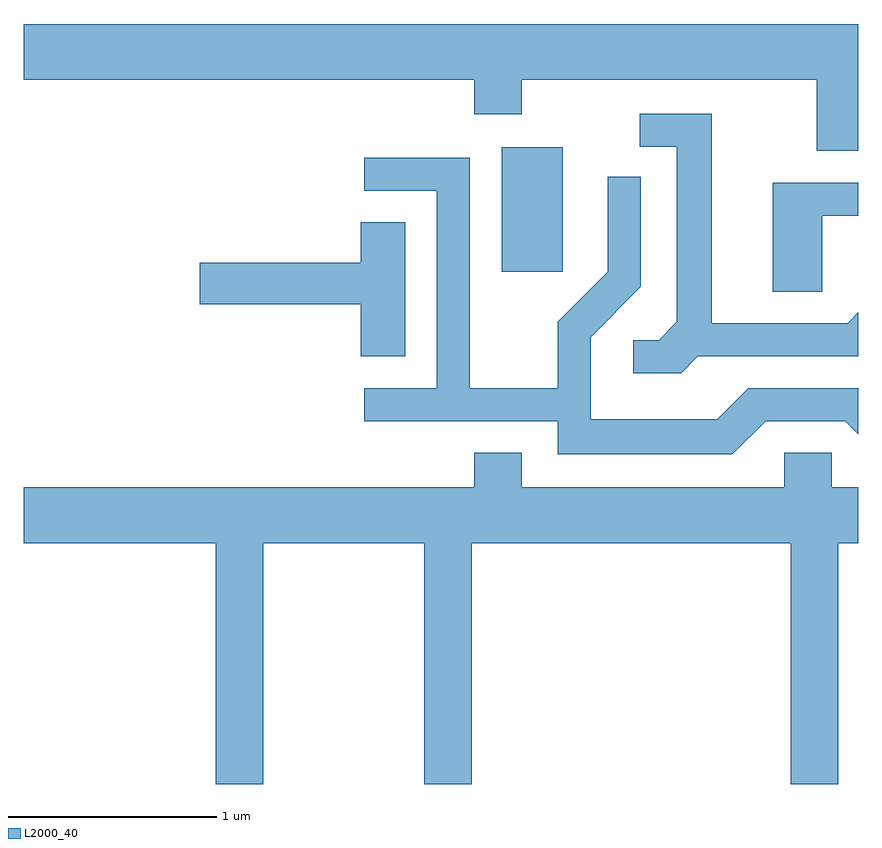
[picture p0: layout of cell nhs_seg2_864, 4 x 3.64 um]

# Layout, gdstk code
import gdstk
lib = gdstk.Library(unit=1e-6, precision=1e-09)
def R(c, l, rs):  # rectangles x0, y0, x1, y1
    for r in rs: c.add(gdstk.rectangle(r[:2], r[2:], *l))
def P(c, l, *ps):  # polygons
    for p in ps: c.add(gdstk.Polygon(p, *l))
L2000_40 = (2000, 40)

nhs_seg2_864 = lib.new_cell('nhs_seg2_864')
R(nhs_seg2_864, L2000_40, [(211.901,1076.256,212.194,1076.854)])
P(nhs_seg2_864, L2000_40, [(213.611,1077.444),(209.611,1077.444),(209.611,1077.176),(211.771,1077.176),(211.771,1077.011),(211.999,1077.011),(211.999,1077.176),(213.411,1077.176),(213.411,1076.836),(213.611,1076.836)],
  [(212.842,1075.851),(213.611,1075.851),(213.611,1076.062),(213.559,1076.009),(212.909,1076.009),(212.909,1077.014),(212.563,1077.014),(212.563,1076.856),(212.741,1076.856),(212.741,1076.017),(212.654,1075.929),(212.533,1075.929),(212.533,1075.771),(212.762,1075.771)],
  [(213.167,1075.541),(213.549,1075.541),(213.611,1075.479),(213.611,1075.699),(213.084,1075.699),(212.934,1075.549),(212.329,1075.549),(212.329,1075.944),(212.569,1076.184),(212.569,1076.713),(212.411,1076.713),(212.411,1076.257),(212.171,1076.017),(212.171,1075.699),(211.749,1075.699),(211.749,1076.804),(211.243,1076.804),(211.243,1076.646),(211.591,1076.646),(211.591,1075.699),(211.243,1075.699),(211.243,1075.541),(212.171,1075.541),(212.171,1075.381),(213.007,1075.381)],
  [(213.439,1076.526),(213.611,1076.526),(213.611,1076.684),(213.201,1076.684),(213.201,1076.161),(213.439,1076.161)],
  [(211.439,1076.494),(211.226,1076.494),(211.226,1076.299),(210.456,1076.299),(210.456,1076.101),(211.226,1076.101),(211.226,1075.851),(211.439,1075.851)],
  [(210.759,1074.956),(211.531,1074.956),(211.531,1073.802),(211.759,1073.802),(211.759,1074.956),(213.286,1074.956),(213.286,1073.802),(213.514,1073.802),(213.514,1074.956),(213.611,1074.956),(213.611,1075.224),(213.484,1075.224),(213.484,1075.389),(213.256,1075.389),(213.256,1075.224),(211.999,1075.224),(211.999,1075.389),(211.771,1075.389),(211.771,1075.224),(209.611,1075.224),(209.611,1074.956),(210.531,1074.956),(210.531,1073.802),(210.759,1073.802)])

lib.write_gds('nhs_seg2_864.gds')
